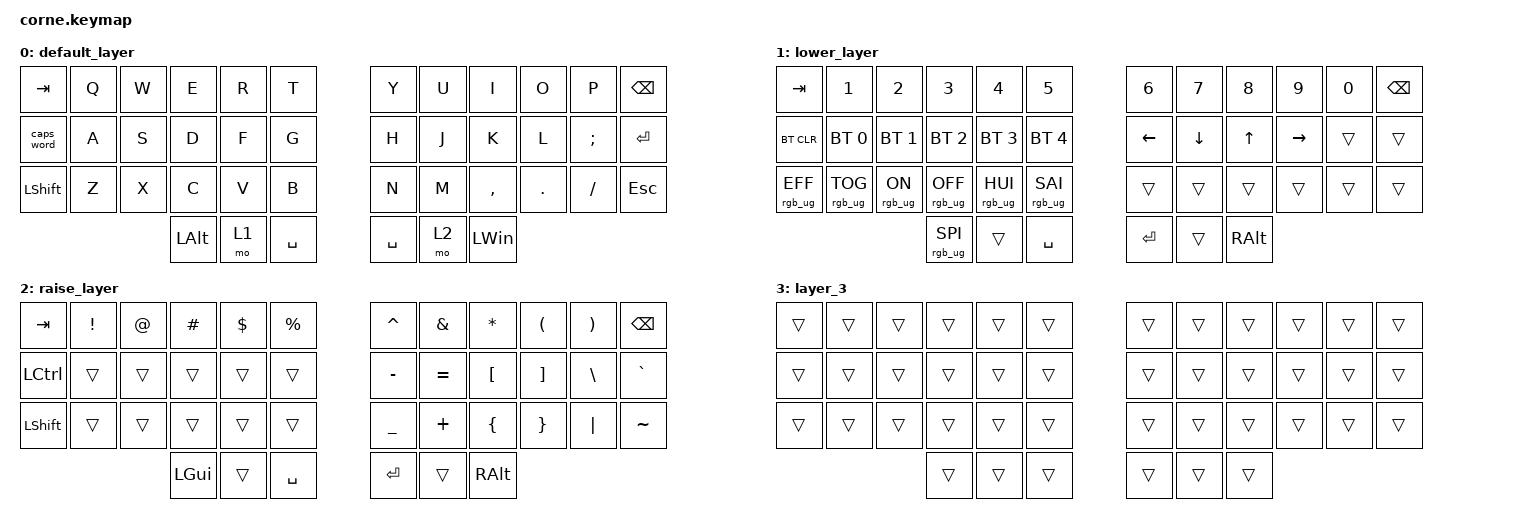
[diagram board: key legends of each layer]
/*
 * Copyright (c) 2020 The ZMK Contributors
 *
 * SPDX-License-Identifier: MIT
 */

#include <behaviors.dtsi>
#include <dt-bindings/zmk/bt.h>
#include <dt-bindings/zmk/keys.h>
#include <dt-bindings/zmk/rgb.h>

/ {
    keymap {
        compatible = "zmk,keymap";

        default_layer {
            // -----------------------------------------------------------------------------------------
            // |  TAB |  Q  |  W  |  E  |  R  |  T  |   |  Y  |  U   |  I  |  O  |  P  | BKSP |
            // | CTRL |  A  |  S  |  D  |  F  |  G  |   |  H  |  J   |  K  |  L  |  ;  |  '   |
            // | SHFT |  Z  |  X  |  C  |  V  |  B  |   |  N  |  M   |  ,  |  .  |  /  | ESC  |
            //                    | GUI | LWR | SPC |   | ENT | RSE  | ALT |

            bindings = <
&kp TAB     &kp Q  &kp W  &kp E     &kp R  &kp T        &kp Y      &kp U  &kp I         &kp O    &kp P     &kp BSPC
&caps_word  &kp A  &kp S  &kp D     &kp F  &kp G        &kp H      &kp J  &kp K         &kp L    &kp SEMI  &kp ENTER
&kp LSHFT   &kp Z  &kp X  &kp C     &kp V  &kp B        &kp N      &kp M  &kp COMMA     &kp DOT  &kp FSLH  &kp ESC
                          &kp LALT  &mo 1  &kp SPACE    &kp SPACE  &mo 2  &kp LEFT_WIN
            >;
        };

        lower_layer {
            // -----------------------------------------------------------------------------------------
            // |  TAB |  1  |  2  |  3  |  4  |  5  |   |  6  |  7  |  8  |  9  |  0  | BKSP |
            // | BTCLR| BT1 | BT2 | BT3 | BT4 | BT5 |   | LFT | DWN |  UP | RGT |     |      |
            // | SHFT |     |     |     |     |     |   |     |     |     |     |     |      |
            //                    | GUI |     | SPC |   | ENT |     | ALT |

            bindings = <
&kp TAB          &kp N1           &kp N2          &kp N3           &kp N4           &kp N5             &kp N6    &kp N7    &kp N8    &kp N9     &kp N0  &kp BSPC
&bt BT_CLR       &bt BT_SEL 0     &bt BT_SEL 1    &bt BT_SEL 2     &bt BT_SEL 3     &bt BT_SEL 4       &kp LEFT  &kp DOWN  &kp UP    &kp RIGHT  &trans  &trans
&rgb_ug RGB_EFF  &rgb_ug RGB_TOG  &rgb_ug RGB_ON  &rgb_ug RGB_OFF  &rgb_ug RGB_HUI  &rgb_ug RGB_SAI    &trans    &trans    &trans    &trans     &trans  &trans
                                                  &rgb_ug RGB_SPI  &trans           &kp SPACE          &kp RET   &trans    &kp RALT
            >;
        };

        raise_layer {
            // -----------------------------------------------------------------------------------------
            // |  TAB |  !  |  @  |  #  |  $  |  %  |   |  ^  |  &  |  *  |  (  |  )  | BKSP |
            // | CTRL |     |     |     |     |     |   |  -  |  =  |  [  |  ]  |  \  |  `   |
            // | SHFT |     |     |     |     |     |   |  _  |  +  |  {  |  }  | "|" |  ~   |
            //                    | GUI |     | SPC |   | ENT |     | ALT |

            bindings = <
&kp TAB    &kp EXCL  &kp AT  &kp HASH  &kp DLLR  &kp PRCNT    &kp CARET  &kp AMPS   &kp ASTRK  &kp LPAR  &kp RPAR  &kp BSPC
&kp LCTRL  &trans    &trans  &trans    &trans    &trans       &kp MINUS  &kp EQUAL  &kp LBKT   &kp RBKT  &kp BSLH  &kp GRAVE
&kp LSHFT  &trans    &trans  &trans    &trans    &trans       &kp UNDER  &kp PLUS   &kp LBRC   &kp RBRC  &kp PIPE  &kp TILDE
                             &kp LGUI  &trans    &kp SPACE    &kp RET    &trans     &kp RALT
            >;
        };

        layer_3 {
            bindings = <
&trans  &trans  &trans  &trans  &trans  &trans    &trans  &trans  &trans  &trans  &trans  &trans
&trans  &trans  &trans  &trans  &trans  &trans    &trans  &trans  &trans  &trans  &trans  &trans
&trans  &trans  &trans  &trans  &trans  &trans    &trans  &trans  &trans  &trans  &trans  &trans
                        &trans  &trans  &trans    &trans  &trans  &trans
            >;
        };
    };
};
